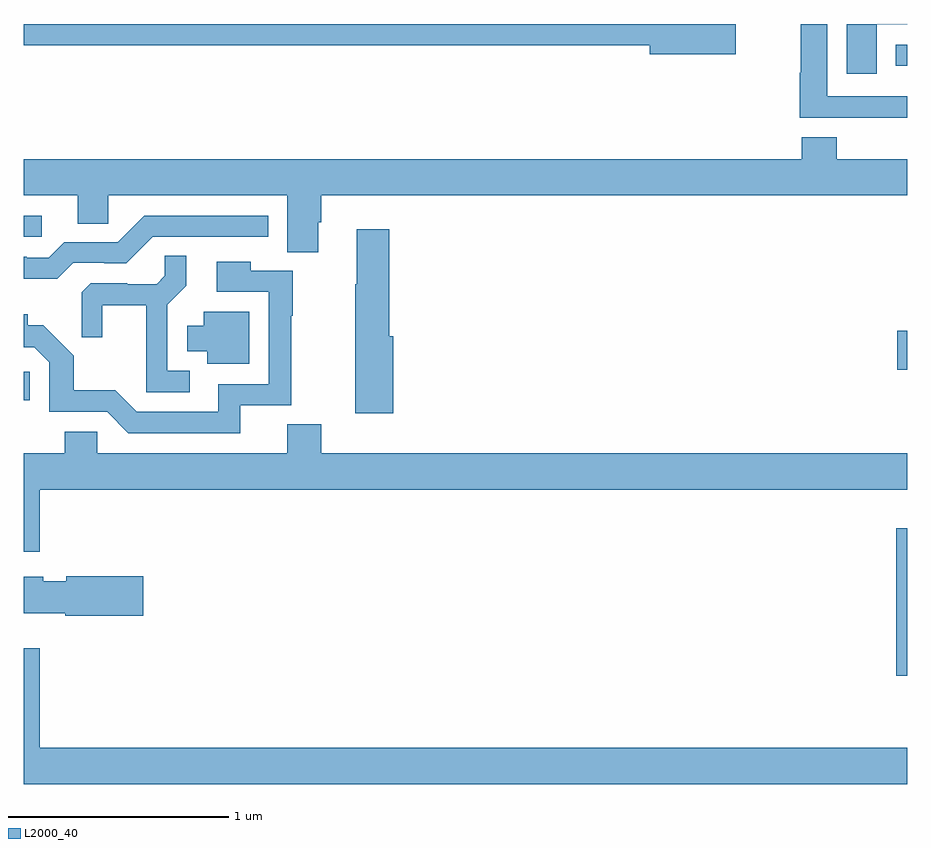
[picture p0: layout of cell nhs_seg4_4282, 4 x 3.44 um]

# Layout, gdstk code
import gdstk
lib = gdstk.Library(unit=1e-6, precision=1e-09)
def R(c, l, rs):  # rectangles x0, y0, x1, y1
    for r in rs: c.add(gdstk.rectangle(r[:2], r[2:], *l))
def P(c, l, *ps):  # polygons
    for p in ps: c.add(gdstk.Polygon(p, *l))
L2000_40 = (2000, 40)

nhs_seg4_4282 = lib.new_cell('nhs_seg4_4282')
R(nhs_seg4_4282, L2000_40, [(342.95,823.95,343,824.617), (339,825.198,339.027,825.327), (342.954,825.334,343,825.512), (339,825.936,339.082,826.032), (342.947,826.71,343,826.806)])
P(nhs_seg4_4282, L2000_40, [(343,826.573),(342.958,826.573),(342.958,826.572),(342.637,826.572),(342.637,826.9),(342.517,826.9),(342.517,826.679),(342.512,826.679),(342.512,826.475),(343,826.475)],
  [(342.223,826.9),(339,826.9),(339,826.804),(341.834,826.804),(341.834,826.762),(342.223,826.762)],
  [(342.862,826.899),(343,826.899),(343,826.9),(342.725,826.9),(342.725,826.674),(342.862,826.674)],
  [(340.333,826.002),(340.346,826.002),(340.346,826.124),(343,826.124),(343,826.288),(342.681,826.288),(342.681,826.387),(342.521,826.387),(342.521,826.288),(339,826.288),(339,826.124),(339.245,826.124),(339.245,825.997),(339.384,825.997),(339.384,826.124),(340.193,826.124),(340.193,825.868),(340.333,825.868)],
  [(339.225,825.819),(339.364,825.819),(339.364,825.816),(339.465,825.816),(339.585,825.936),(340.108,825.936),(340.108,826.032),(339.546,826.032),(339.426,825.912),(339.183,825.912),(339.114,825.843),(339.014,825.843),(339.014,825.846),(339,825.846),(339,825.746),(339.152,825.746)],
  [(340.673,825.486),(340.655,825.486),(340.655,825.97),(340.508,825.97),(340.508,825.722),(340.501,825.722),(340.501,825.486),(340.502,825.486),(340.502,825.138),(340.673,825.138)],
  [(339.751,825.33),(339.651,825.33),(339.651,825.629),(339.737,825.715),(339.737,825.851),(339.639,825.851),(339.639,825.76),(339.602,825.723),(339.468,825.723),(339.468,825.726),(339.303,825.726),(339.262,825.685),(339.262,825.483),(339.356,825.483),(339.356,825.626),(339.554,825.626),(339.554,825.234),(339.751,825.234)],
  [(339.98,825.174),(340.211,825.174),(340.211,825.58),(340.219,825.58),(340.219,825.783),(340.029,825.783),(340.029,825.823),(339.873,825.823),(339.873,825.687),(340.11,825.687),(340.11,825.27),(339.881,825.27),(339.881,825.144),(339.513,825.144),(339.415,825.243),(339.226,825.243),(339.226,825.398),(339.088,825.536),(339.018,825.536),(339.018,825.586),(339,825.586),(339,825.438),(339.048,825.438),(339.117,825.369),(339.117,825.144),(339.378,825.144),(339.474,825.048),(339.98,825.048)],
  [(340.021,825.598),(339.815,825.598),(339.815,825.535),(339.74,825.535),(339.74,825.419),(339.83,825.419),(339.83,825.362),(340.021,825.362)],
  [(339.073,824.792),(343,824.792),(343,824.956),(340.346,824.956),(340.346,825.089),(340.193,825.089),(340.193,824.956),(339.333,824.956),(339.333,825.054),(339.187,825.054),(339.187,824.956),(339,824.956),(339,824.511),(339.073,824.511)],
  [(339.541,824.4),(339.192,824.4),(339.192,824.377),(339.088,824.377),(339.088,824.398),(339,824.398),(339,824.234),(339.188,824.234),(339.188,824.222),(339.541,824.222)],
  [(343,823.624),(339.073,823.624),(339.073,824.074),(339,824.074),(339,823.46),(343,823.46)])

lib.write_gds('nhs_seg4_4282.gds')
